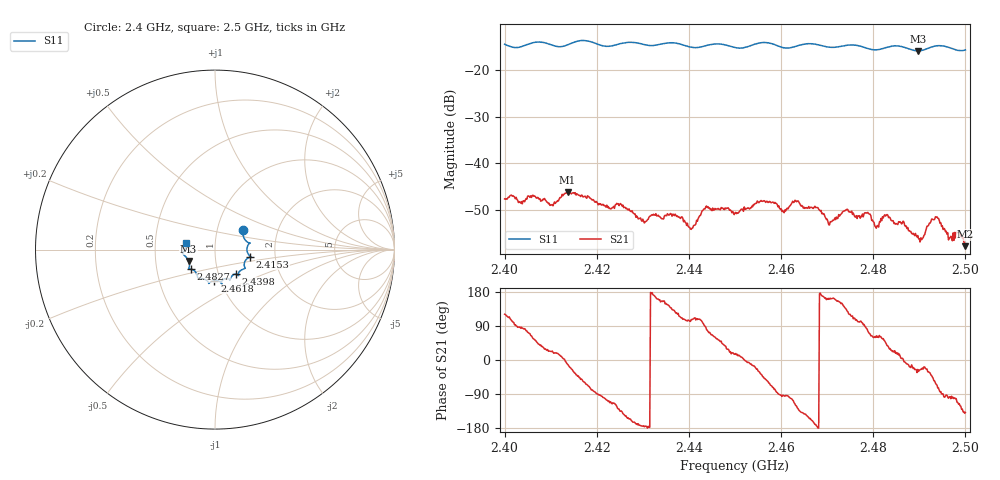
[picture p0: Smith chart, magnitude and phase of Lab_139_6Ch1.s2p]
# Hz S RI R 50
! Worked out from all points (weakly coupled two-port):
!   601 points, 2.4 GHz to 2.5 GHz, reference 50 ohm
!   highest |S21| = -46.10 dB at 2.4137 GHz (marker M1); lowest = -57.7 dB at 2.5 GHz (marker M2)
!   lowest |S11| = -15.9 dB at 2.4897 GHz (marker M3), VSWR 1.38, Z = 36.9 - j4.83 ohm
!   |S11| at or under -10 dB: start of sweep to end of sweep
!   S12 and S22 are empty: the file has one direction only
!   S11 on the Smith chart (normalised r, x): 2.4 GHz: 1.33, +0.30; 2.4153 GHz: 1.48, -0.12; 2.4398 GHz: 1.21, -0.34; 2.4618 GHz: 0.94, -0.33; 2.4827 GHz: 0.75, -0.17; 2.5 GHz: 0.72, +0.06
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2.4e9  0.1554 0.1069  -0.00214 0.00358  0 0  0 0
2.410167e9  0.1839 0.0249  0.00334 0.00136  0 0  0 0
2.413667e9  0.1847 -0.0233  0.00486 -0.000972  0 0  0 0
2.415333e9  0.1967 -0.0388  0.004 -0.00276  0 0  0 0
2.416667e9  0.2026 -0.0428  0.00292 -0.00351  0 0  0 0
2.430167e9  0.1515 -0.1112  -0.00239 -0.000267  0 0  0 0
2.433333e9  0.1299 -0.1343  -0.00263 0.000921  0 0  0 0
2.439833e9  0.1151 -0.136  -0.000566 0.00204  0 0  0 0
2.443667e9  0.086 -0.1606  0.000212 0.00344  0 0  0 0
2.45e9  0.0643 -0.1619  0.00285 0.000791  0 0  0 0
2.455833e9  0.0378 -0.1928  0.00304 -0.00251  0 0  0 0
2.461833e9  -0.00293 -0.1725  -0.000517 -0.00344  0 0  0 0
2.466667e9  -0.0345 -0.188  -0.00317 -0.00119  0 0  0 0
2.470667e9  -0.0548 -0.1665  -0.00228 0.000693  0 0  0 0
2.474e9  -0.0887 -0.1604  -0.00228 0.0022  0 0  0 0
2.478833e9  -0.1026 -0.1354  0.000697 0.0029  0 0  0 0
2.480667e9  -0.1155 -0.1168  0.000894 0.00182  0 0  0 0
2.482667e9  -0.1349 -0.1085  0.00187 0.00198  0 0  0 0
2.483333e9  -0.1401 -0.1083  0.00218 0.00146  0 0  0 0
2.489667e9  -0.1471 -0.0638  0.00153 -0.000713  0 0  0 0
2.493833e9  -0.1805 -0.0229  0.00108 -0.00245  0 0  0 0
2.5e9  -0.1592 0.0391  -0.000969 -0.000866  0 0  0 0
